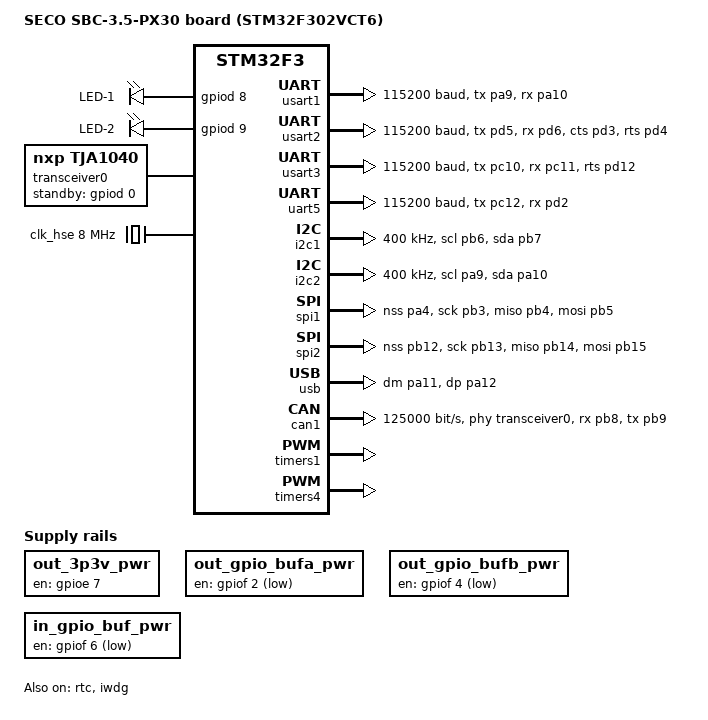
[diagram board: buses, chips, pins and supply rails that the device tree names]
/*
 * Copyright (c) 2022 Seco Spa
 *
 * SPDX-License-Identifier: Apache-2.0
 */

/dts-v1/;
#include <st/f3/stm32f302Xc.dtsi>
#include <st/f3/stm32f302v(b-c)tx-pinctrl.dtsi>

/ {
	model = "SECO SBC-3.5-PX30 board (STM32F302VCT6)";
	compatible = "seco,stm32f3-d23";

	chosen {
		zephyr,console = &usart1;
		zephyr,code-partition = &slot0_partition;
		zephyr,shell-uart = &usart1;
		zephyr,sram = &sram0;
		zephyr,flash = &flash0;
		zephyr,canbus = &can1;
	};

	leds {
		compatible = "gpio-leds";
		led_1: led_1 {
			gpios = <&gpiod 8 GPIO_ACTIVE_HIGH>;
			label = "LED-1";
		};
		led_2: led_2 {
			gpios = <&gpiod 9 GPIO_ACTIVE_HIGH>;
			label = "LED-2";
		};
	};

	out_3p3v_pwr: 3p3v-out-pwr-ctrl {
		compatible = "regulator-fixed";
		regulator-name = "3p3v-out-pwr-ctrl";
		enable-gpios = <&gpioe 7 GPIO_ACTIVE_HIGH>;
		regulator-always-on;
		regulator-boot-on;
		status = "okay";
	};

	out_gpio_bufa_pwr: out-gpio-bufa-pwr-ctrl {
		compatible = "regulator-fixed";
		regulator-name = "out-gpio-bufa-pwr-ctrl";
		enable-gpios = <&gpiof 2 GPIO_ACTIVE_LOW>;
		regulator-boot-on;
		status = "okay";
	};

	out_gpio_bufb_pwr: out-gpio-bufb-pwr-ctrl {
		compatible = "regulator-fixed";
		regulator-name = "out-gpio-bufb-pwr-ctrl";
		enable-gpios = <&gpiof 4 GPIO_ACTIVE_LOW>;
		regulator-boot-on;
		status = "okay";
	};

	in_gpio_buf_pwr: in-gpio-buf-pwr-ctrl {
		compatible = "regulator-fixed";
		regulator-name = "in-gpio-buf-pwr-ctrl";
		enable-gpios = <&gpiof 6 GPIO_ACTIVE_LOW>;
		regulator-boot-on;
		status = "okay";
	};

	transceiver0: can-phy0 {
		compatible = "nxp,tja1040", "can-transceiver-gpio";
		standby-gpios = <&gpiod 0 GPIO_ACTIVE_HIGH>;
		max-bitrate = <1000000>;
		#phy-cells = <0>;
	};

	aliases {
		led0 = &led_1;
		led1 = &led_2;
	};
};

&clk_lsi {
	status = "okay";
};

&clk_hse {
	clock-frequency = <DT_FREQ_M(8)>;
	status = "okay";
};

&pll {
	prediv = <1>;
	mul = <9>;
	clocks = <&clk_hse>;
	status = "okay";
};

&rcc {
	clocks = <&pll>;
	clock-frequency = <DT_FREQ_M(72)>;
	ahb-prescaler = <1>;
	apb1-prescaler = <2>;
	apb2-prescaler = <1>;
	status = "okay";
};

/* Debug Serial */
&usart1 {
	pinctrl-0 = <&usart1_tx_pa9 &usart1_rx_pa10>;
	pinctrl-names = "default";
	current-speed = <115200>;
	status = "okay";
};

/* Modbus */
&usart2 {
	pinctrl-0 = <&usart2_tx_pd5 &usart2_rx_pd6
		     &usart2_cts_pd3 &usart2_rts_pd4>;
	pinctrl-names = "default";
	current-speed = <115200>;
};

/* RS-485 */
&usart3 {
	pinctrl-0 = <&usart3_tx_pc10 &usart3_rx_pc11
		     &usart3_rts_pd12>;
	pinctrl-names = "default";
	current-speed = <115200>;
};

&uart5 {
	pinctrl-0 = <&uart5_tx_pc12 &uart5_rx_pd2>;
	pinctrl-names = "default";
	current-speed = <115200>;
};

&i2c1 {
	pinctrl-0 = <&i2c1_scl_pb6 &i2c1_sda_pb7>;
	pinctrl-names = "default";
	clock-frequency = <I2C_BITRATE_FAST>;
	status = "okay";
};

&i2c2 {
	/* alternate config usart1 */
	pinctrl-0 = <&i2c2_scl_pa9 &i2c2_sda_pa10>;
	pinctrl-names = "default";
	clock-frequency = <I2C_BITRATE_FAST>;
};

&spi1 {
	pinctrl-0 = <&spi1_nss_pa4 &spi1_sck_pb3
		     &spi1_miso_pb4 &spi1_mosi_pb5>;
	pinctrl-names = "default";
	status = "okay";
};

&spi2 {
	pinctrl-0 = <&spi2_nss_pb12 &spi2_sck_pb13
		     &spi2_miso_pb14 &spi2_mosi_pb15>;
	pinctrl-names = "default";
	status = "okay";
};

zephyr_udc0: &usb {
	pinctrl-0 = <&usb_dm_pa11 &usb_dp_pa12>;
	pinctrl-names = "default";
	status = "okay";
};

&rtc {
	clocks = <&rcc STM32_CLOCK_BUS_APB1 0x10000000>,
		 <&rcc STM32_SRC_LSI RTC_SEL(2)>;
	status = "okay";
};

&can1 {
	pinctrl-0 = <&can_rx_pb8 &can_tx_pb9>;
	pinctrl-names = "default";
	bus-speed = <125000>;
	phys = <&transceiver0>;
	status = "okay";
};

&flash0 {
	partitions {
		compatible = "fixed-partitions";
		#address-cells = <1>;
		#size-cells = <1>;
		boot_partition: partition@0 {
			label = "mcuboot";
			reg = <0x00000000 0x00010000>;
			read-only;
		};
		/*
		 * The flash starting at 0x00010000 and ending at
		 * 0x0001ffff (sectors 16-31) is reserved for use
		 * by the application.
		 */
		slot0_partition: partition@20000 {
			label = "image-0";
			reg = <0x00020000 0x00008000>;
		};
		slot1_partition: partition@28000 {
			label = "image-1";
			reg = <0x00028000 0x00008000>;
		};
		storage_partition: partition@30000 {
			label = "storage";
			reg = <0x00030000 0x00002000>;
		};
		scratch_partition: partition@32000 {
			label = "image-scratch";
			reg = <0x00032000 0x00008000>;
		};
	};
};

&iwdg {
	status = "okay";
};

&timers1 {
	st,prescaler = <10000>;
	status = "okay";
	pwm1: pwm {
		pinctrl-0 = <&tim1_ch1_pe9 &tim1_ch2n_pe10 &tim1_ch2_pe11
			     &tim1_ch3n_pe12 &tim1_ch3_pe13 &tim1_ch4_pe14>;
		pinctrl-names = "default";
		status = "okay";
	};
};

&timers4 {
	st,prescaler = <10000>;
	status = "okay";
	pwm4: pwm {
		pinctrl-0 = <&tim4_ch2_pd13 &tim4_ch3_pd14 &tim4_ch4_pd15>;
		pinctrl-names = "default";
		status = "okay";
	};
};
